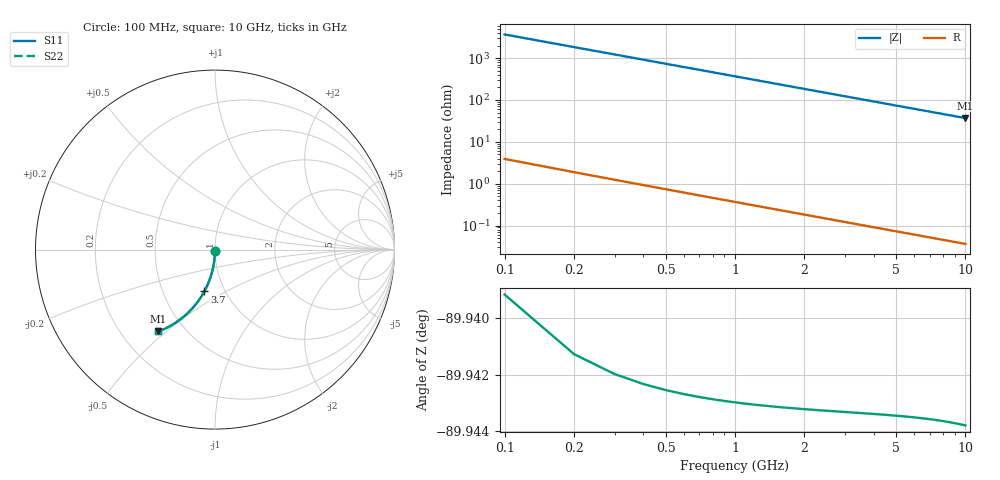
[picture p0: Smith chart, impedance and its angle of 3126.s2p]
# Hz S RI R 50.00
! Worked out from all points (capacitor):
!   100 points, 100 MHz to 10 GHz, reference 50 ohm
!   read as one part in shunt: C = 432 fF near 100 MHz
!   lowest |Z| = 37.1 ohm at 10 GHz (marker M1)
!   S11 on the Smith chart (normalised r, x): 100 MHz: 1.00, -0.01; 3.7 GHz: 0.80, -0.40; 10 GHz: 0.36, -0.47
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1e8  -3.72e-05 -0.00671  0.9999 -0.00686  0.9999 -0.00686  -3.72e-05 -0.00671
2e8  -0.000182 -0.0134  0.9998 -0.0137  0.9998 -0.0137  -0.000182 -0.0134
3e8  -0.000419 -0.0201  0.9995 -0.0206  0.9995 -0.0206  -0.000419 -0.0201
4e8  -0.000747 -0.0268  0.9992 -0.0274  0.9992 -0.0274  -0.000747 -0.0268
5e8  -0.00117 -0.0335  0.9988 -0.0343  0.9988 -0.0343  -0.00117 -0.0335
6e8  -0.00168 -0.0402  0.9983 -0.0411  0.9983 -0.0411  -0.00168 -0.0402
7e8  -0.00228 -0.0468  0.9977 -0.0479  0.9977 -0.0479  -0.00228 -0.0468
8e8  -0.00298 -0.0535  0.997 -0.0548  0.997 -0.0548  -0.00298 -0.0535
9e8  -0.00376 -0.0601  0.9962 -0.0616  0.9962 -0.0616  -0.00376 -0.0601
1.1e9  -0.0056 -0.0734  0.9944 -0.0751  0.9944 -0.0751  -0.0056 -0.0734
1.4e9  -0.00902 -0.093  0.9909 -0.0952  0.9909 -0.0952  -0.00902 -0.093
1.8e9  -0.0148 -0.1189  0.9852 -0.1217  0.9852 -0.1217  -0.0148 -0.1189
2.1e9  -0.02 -0.138  0.9799 -0.1413  0.9799 -0.1413  -0.02 -0.138
2.5e9  -0.0281 -0.1629  0.9718 -0.1668  0.9718 -0.1668  -0.0281 -0.1629
2.9e9  -0.0374 -0.1871  0.9625 -0.1917  0.9625 -0.1917  -0.0374 -0.1871
3.4e9  -0.0507 -0.2163  0.9492 -0.2216  0.9492 -0.2216  -0.0507 -0.2163
3.7e9  -0.0595 -0.2331  0.9405 -0.239  0.9405 -0.239  -0.0595 -0.2331
4.4e9  -0.082 -0.2705  0.9179 -0.2774  0.9179 -0.2774  -0.082 -0.2705
5.1e9  -0.1071 -0.3047  0.8928 -0.3129  0.8928 -0.3129  -0.1071 -0.3047
6.7e9  -0.1714 -0.371  0.8285 -0.3817  0.8285 -0.3817  -0.1714 -0.371
8.4e9  -0.2451 -0.4229  0.7547 -0.4365  0.7547 -0.4365  -0.2451 -0.4229
1e10  -0.315 -0.4559  0.6848 -0.4722  0.6848 -0.4722  -0.315 -0.4559
